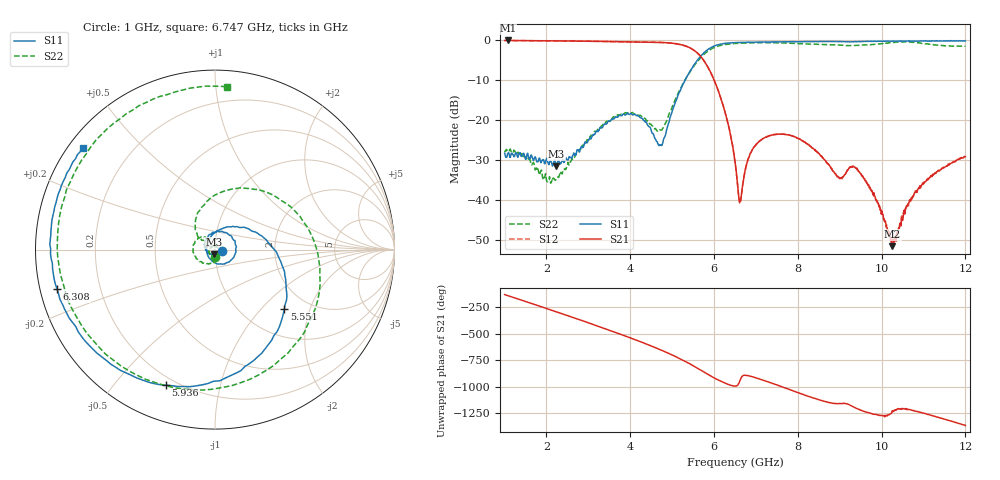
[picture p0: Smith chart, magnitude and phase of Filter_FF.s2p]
!Keysight Technologies N9917A: A.08.15
!Date: Friday, 13 October 2017 17:36:09
!Timezone: (GMT-08:00) Pacific Time (US & Canada)
!Model: N9917A
!Serial: MY53102735
!GPS Latitude:
!GPS Longitude:
!GPS TimeStamp: 0001-01-01 00:00:00Z
!GPS Seconds Since Last Read: 0
!CHECKSUM:1392637309
!Correction: S11(ON U)S21(ON U)S12(ON U)S22(ON U)
!S2P File: Measurements:S11,S21,S12,S22:
# Hz S DB R 50
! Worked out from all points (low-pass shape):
!   801 points, 1 GHz to 12 GHz, reference 50 ohm
!   highest |S21| = -0.16 dB at 1.083 GHz (marker M1); lowest = -51.5 dB at 10.25 GHz (marker M2)
!   |S21| within 3 dB of the highest: start of sweep to 5.588 GHz
!   lowest |S11| = -31.6 dB at 2.237 GHz (marker M3), VSWR 1.05, Z = 49.3 - j2.5 ohm
!   |S11| at or under -10 dB: start of sweep to 5.312 GHz
!   |S22| runs from -35.8 to -0.5 dB; largest |S21 - S12| = 0.0046
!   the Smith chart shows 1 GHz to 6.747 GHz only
!   S11 on the Smith chart (normalised r, x): 1 GHz: 1.08, -0.01; 5.551 GHz: 1.53, -1.36; 5.936 GHz: 0.16, -0.69; 6.308 GHz: 0.05, -0.12; 6.747 GHz: 0.04, +0.34
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1e9  -28.31 -9.6  -0.17 -129.6  -0.16 -129.9  -28.03 -88.6
1.0825e9  -28.30 -17.0  -0.16 -140.6  -0.17 -140.6  -27.91 -97.7
2.2375e9  -31.63 -104.5  -0.27 67.7  -0.28 67.7  -34.46 35.1
2.8425e9  -26.71 -166.7  -0.32 -14.0  -0.35 -13.9  -26.81 -62.1
3.9425e9  -18.34 21.6  -0.51 -169.1  -0.52 -169.1  -18.28 179.2
4.67125e9  -26.07 -151.4  -0.63 78.1  -0.63 78.0  -22.87 130.9
5.11125e9  -14.74 42.3  -1.00 0.4  -1.00 0.3  -14.06 123.2
5.55125e9  -5.89 -40.4  -2.82 -91.5  -2.84 -91.3  -6.09 25.2
5.93625e9  -1.90 -110.0  -8.53 179.4  -8.53 179.4  -2.28 -87.1
6.3075e9  -0.85 -166.1  -19.81 107.9  -19.86 108.0  -1.11 176.6
6.5e9  -0.69 169.9  -30.34 87.5  -30.37 87.7  -0.91 134.7
6.7475e9  -0.64 142.4  -32.23 -170.9  -32.49 -170.2  -0.82 85.7
7.20125e9  -0.55 98.7  -24.50 139.2  -24.50 138.9  -0.72 0.7
7.64125e9  -0.52 61.0  -23.50 78.4  -23.59 78.4  -0.78 -87.0
8.3425e9  -0.42 4.9  -27.01 -20.6  -26.97 -20.8  -1.10 125.5
9.0575e9  -0.47 -49.8  -34.31 -76.4  -34.70 -76.6  -1.34 -4.6
9.6075e9  -0.40 -89.5  -35.11 -154.7  -35.14 -154.5  -1.25 -90.4
1.017125e10  -0.37 -129.1  -48.61 176.5  -48.62 174.0  -0.79 -174.6
1.025375e10  -0.35 -134.8  -51.53 -144.9  -49.86 -162.7  -0.64 172.2
1.074875e10  -0.29 -166.8  -39.22 -143.6  -39.16 -144.5  -0.63 91.9
1.123e10  -0.27 164.4  -33.80 166.9  -33.50 167.8  -1.20 7.9
1.2e10  -0.28 122.2  -29.17 76.8  -29.09 76.0  -1.61 -141.1
